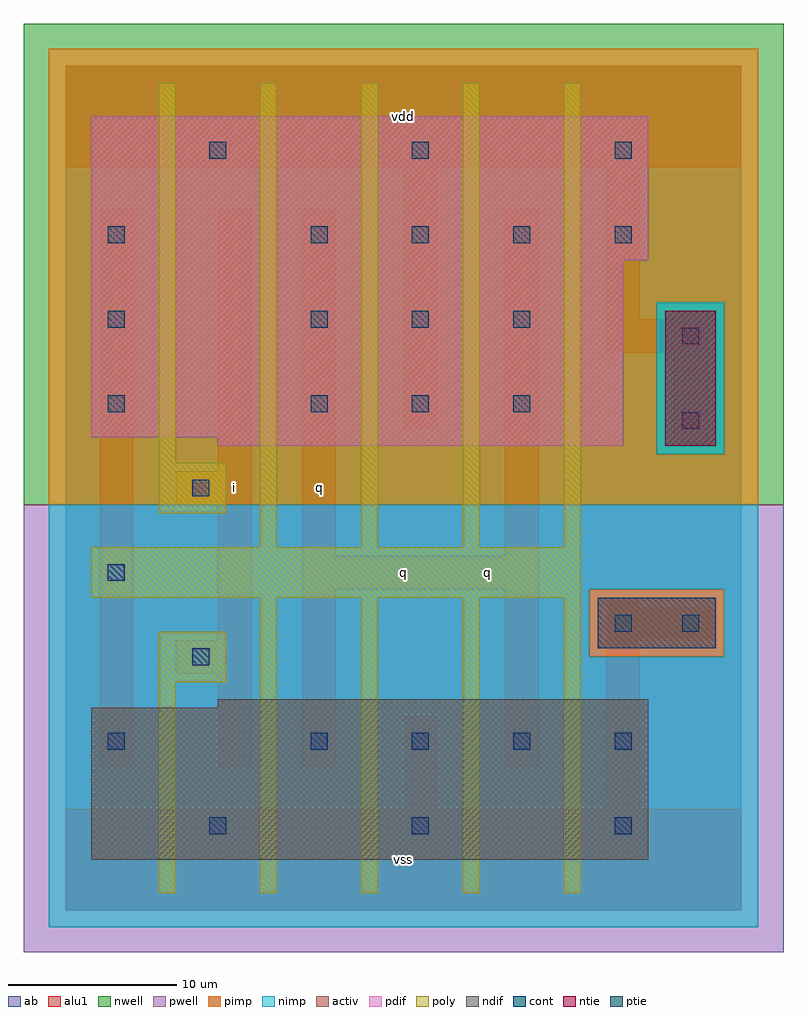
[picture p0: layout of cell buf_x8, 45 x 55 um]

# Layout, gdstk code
import gdstk
lib = gdstk.Library(unit=1e-6, precision=1e-09)
def R(c, l, rs):  # rectangles x0, y0, x1, y1
    for r in rs: c.add(gdstk.rectangle(r[:2], r[2:], *l))
def A(c, l, x, y, w, h, nx, ny, dx, dy):  # array of equal rectangles
    R(c, l, [(x+i*dx, y+j*dy, x+i*dx+w, y+j*dy+h) for i in range(nx) for j in range(ny)])
ndif = (3, 0)
pdif = (4, 0)
ntie = (5, 0)
ptie = (6, 0)
cont = (25, 0)
pwell = (41, 0)
nwell = (42, 0)
activ = (43, 0)
pimp = (44, 0)
nimp = (45, 0)
poly = (46, 0)
alu1 = (49, 0)
ab = (63, 0)

buf_x8 = lib.new_cell('buf_x8')
R(buf_x8, ndif, [(1.5,3,34.5,12), (9,12,34.5,12.5)])
R(buf_x8, pdif, [(9,27.5,33,28), (1.5,28,33,38.5), (1.5,38.5,34.5,47)])
R(buf_x8, ntie, [(35.5,27.5,38.5,35.5)])
R(buf_x8, ptie, [(31.5,15.5,38.5,18.5)])
A(buf_x8, cont, 8.5, 4.5, 1, 1, 3, 2, 12, 40)
A(buf_x8, cont, 2.5, 9.5, 1, 1, 1, 3, 0, 10)
A(buf_x8, cont, 14.5, 9.5, 1, 1, 4, 2, 6, 30)
A(buf_x8, cont, 14.5, 29.5, 1, 1, 3, 2, 6, 5)
R(buf_x8, cont, [(7.5,14.5,8.5,15.5), (32.5,16.5,33.5,17.5), (36.5,16.5,37.5,17.5), (7.5,24.5,8.5,25.5), (36.5,28.5,37.5,29.5), (36.5,33.5,37.5,34.5), (2.5,34.5,3.5,35.5), (2.5,39.5,3.5,40.5)])
R(buf_x8, pwell, [(-2.5,-2.5,42.5,24)])
R(buf_x8, nwell, [(-2.5,24,42.5,52.5)])
R(buf_x8, activ, [(1.5,3,34.5,12), (9,12,34.5,12.5), (31.5,15.5,38.5,18.5), (9,27.5,33,28), (35.5,27.5,38.5,35.5), (1.5,28,33,38.5), (1.5,38.5,34.5,47)])
R(buf_x8, pimp, [(31,15,39,19), (-1,24,41,27), (-1,27,35,36), (39,27,41,36), (-1,36,41,51)])
R(buf_x8, nimp, [(-1,-1,41,15), (-1,15,31,19), (39,15,41,19), (-1,19,41,24), (35,27,39,36)])
A(buf_x8, poly, 11.5, 1, 1, 17.5, 4, 1, 6, 0)
A(buf_x8, poly, 11.5, 21.5, 1, 27.5, 4, 1, 6, 0)
R(buf_x8, poly, [(5.5,1,6.5,13.5), (5.5,13.5,9.5,16.5), (1.5,18.5,30.5,21.5), (5.5,23.5,9.5,26.5), (5.5,26.5,6.5,49)])
R(buf_x8, alu1, [(0,0,40,6), (0,0,40,6), (20,6,22,11.5), (20,6,22,11.5), (32,6,34,16), (32,6,34,16), (2,8.5,4,41.5), (2,8.5,4,41.5), (9,8.5,11,14), (9,8.5,11,14), (14,8.5,16,19), (14,8.5,16,19), (26,8.5,28,19), (26,8.5,28,19), (6.5,14,11,16), (6.5,14,11,16), (9,16,11,24), (9,16,11,24), (32,16,38.5,18), (32,16,38.5,18), (32,18,34,18.5), (32,18,34,18.5), (14,19,28,21), (14,19,28,21), (14,21,16,41.5), (14,21,16,41.5), (26,21,28,41.5), (26,21,28,41.5), (6.5,24,11,26), (6.5,24,11,26), (9,26,11,41.5), (9,26,11,41.5), (36,27.5,38,33), (36,27.5,38,33), (20,28.5,22,44), (20,28.5,22,44), (32,33,38,35), (32,33,38,35), (32,35,34,44), (32,35,34,44), (36,35,38,35.5), (36,35,38,35.5), (0,44,40,50), (0,44,40,50)])
R(buf_x8, ab, [(0,0,40,50)])
buf_x8.add(gdstk.Label('q', (15,25), layer=49, texttype=0))
buf_x8.add(gdstk.Label('i', (10,25), layer=49, texttype=0))
buf_x8.add(gdstk.Label('vss', (20,3), layer=49, texttype=0))
buf_x8.add(gdstk.Label('q', (20,20), layer=49, texttype=0))
buf_x8.add(gdstk.Label('q', (25,20), layer=49, texttype=0))
buf_x8.add(gdstk.Label('vdd', (20,47), layer=49, texttype=0))

lib.write_gds('buf_x8.gds')
